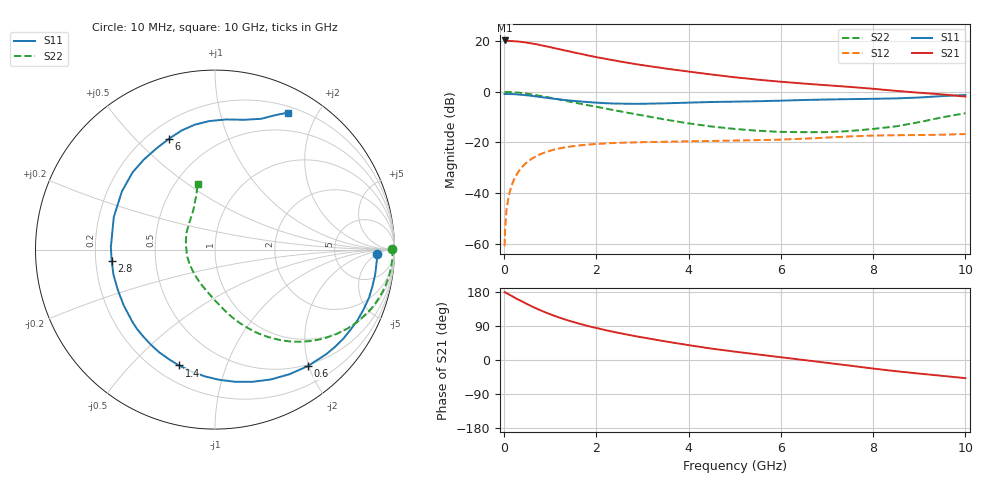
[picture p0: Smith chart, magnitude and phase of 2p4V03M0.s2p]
! (c) 2009  Infineon Technologies AG, Munich
! Infineon Technologies  Discrete & RF Semiconductors
! BFP420
! VCE =  4.0 V,  IC =  3.0 mA
! Common Emitter S-Parameters:  Nov 2009
# GHz  S  MA  R  50
!  f  S11  S21  S12  S22
! GHz  MAG  ANG  MAG  ANG  MAG  ANG  MAG  ANG
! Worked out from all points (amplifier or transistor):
!   46 points, 10 MHz to 10 GHz, reference 50 ohm
!   highest |S21| = 20.3 dB at 10 MHz (marker M1)
!   |S21| within 3 dB of that: start of sweep to 1.084 GHz
!   unconditionally stable (mu >= 1): 3.547 GHz to end of sweep
!   at 300 MHz: K = 0.09, MSG = 25.8 dB, |S12| = -31.8 dB
!   at 1.7 GHz: K = 0.43, MSG = 17.9 dB, |S12| = -21.0 dB
!   at 10 GHz: K = 1.17, MAG = 4.9 dB, |S12| = -16.7 dB
!   lowest NFmin = 0.57 dB at 900 MHz
!   S11 on the Smith chart (normalised r, x): 10 MHz: 19, -5; 600 MHz: 0.48, -1.99; 1.4 GHz: 0.29, -0.69; 2.8 GHz: 0.27, -0.05; 6 GHz: 0.28, +0.63; 10 GHz: 0.27, +1.63
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0.01  0.9046 -1.5  10.3 179.1  0.0009 52.1  0.9878 0.2
0.02  0.9052 -1.7  10.02 178.7  0.0019 65.4  0.9893 -0.9
0.05  0.9031 -4.5  10.04 176.4  0.0046 76.9  0.9896 -2.3
0.15  0.9008 -13.1  10.03 169.9  0.0131 79.9  0.9836 -7.1
0.3  0.8863 -26.3  9.818 160.0  0.0257 74.4  0.9628 -14.1
0.4  0.8704 -34.7  9.588 153.7  0.0337 70.2  0.9418 -18.6
0.6  0.8302 -51.4  9.003 141.5  0.0479 61.9  0.8887 -27.1
0.7  0.8084 -59.3  8.666 135.8  0.0541 58.0  0.8583 -30.9
0.9  0.7652 -74.3  7.943 125.4  0.0645 51.1  0.7951 -37.9
1.2  0.7081 -94.8  6.91 111.8  0.0764 42.3  0.702 -47.0
1.4  0.6758 -107.3  6.298 103.9  0.0822 37.5  0.6455 -52.1
1.7  0.6388 -124.1  5.507 93.5  0.0888 31.4  0.5701 -58.7
1.9  0.6202 -134.4  5.046 87.2  0.0921 27.9  0.5255 -62.7
2.2  0.5962 -148.5  4.467 78.8  0.0959 23.6  0.4671 -67.9
2.8  0.579 -173.9  3.582 64.0  0.1003 16.6  0.3684 -78.0
3.5  0.5925 162.1  2.879 49.0  0.1033 10.9  0.2826 -90.2
4.5  0.6294 136.9  2.192 30.0  0.1073 5.5  0.2066 -112.7
5.5  0.6512 120.0  1.737 14.6  0.1112 1.9  0.1702 -137.8
6  0.6688 112.5  1.58 7.3  0.1141 0.7  0.1618 -152.4
7  0.7049 99.3  1.346 -7.5  0.125 -2.7  0.16 178.9
8.5  0.7412 77.4  1.043 -29.6  0.139 -13.3  0.2084 133.0
10  0.8644 62.0  0.805 -47.9  0.1465 -20.1  0.3782 104.6
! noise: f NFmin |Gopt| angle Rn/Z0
0.9  0.57  0.35  33  0.18
1.8  1.02  0.2  79  0.14
2.4  1.1  0.23  104  0.14
3  1.25  0.24  144  0.11
4  1.46  0.33  -159  0.1
5  1.9  0.39  -128  0.22
6  2.46  0.48  -107  0.35
